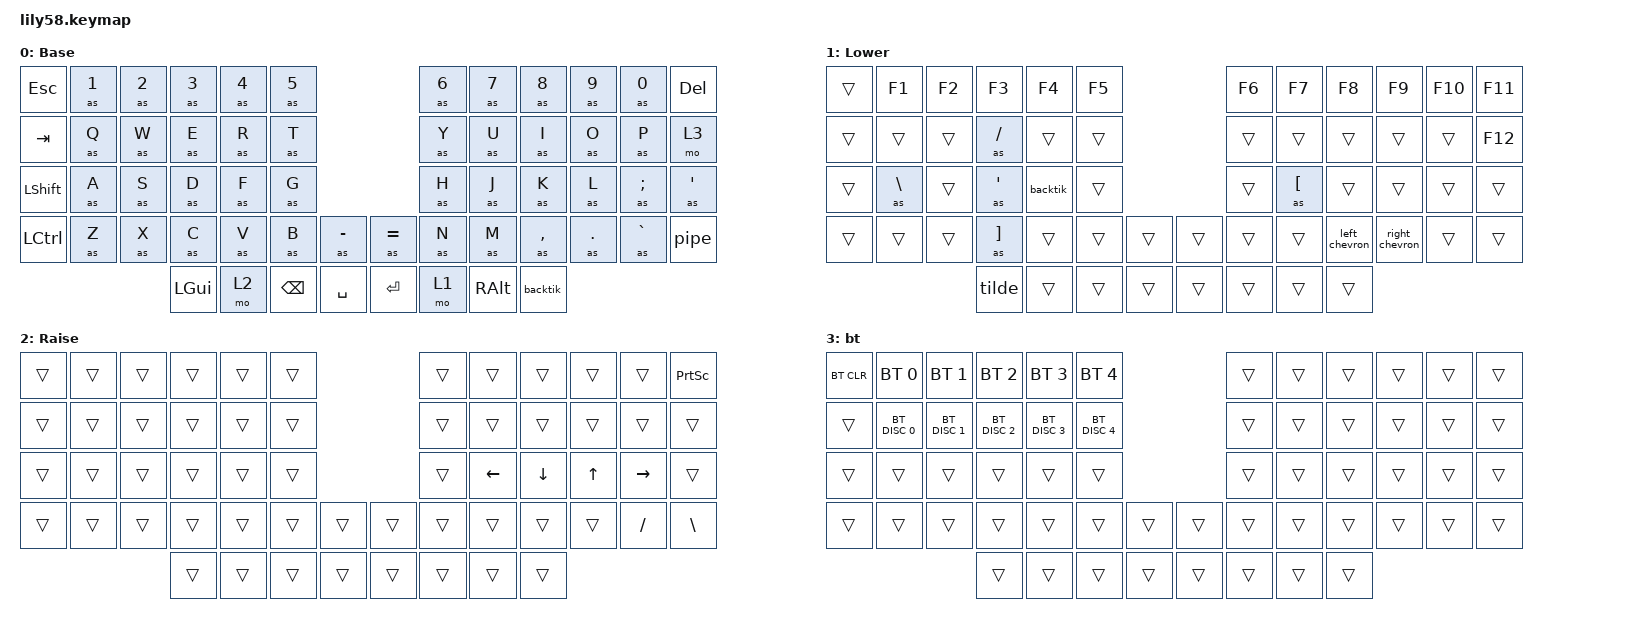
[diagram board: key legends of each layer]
/*
 * Copyright (c) 2020 The ZMK Contributors
 *
 * SPDX-License-Identifier: MIT
 */

#include <behaviors.dtsi>
#include <dt-bindings/zmk/bt.h>
#include <dt-bindings/zmk/keys.h>

/ {
    behaviors {
        as_ht: autoshift_hold_tap {
            compatible = "zmk,behavior-hold-tap";
            label = "AUTOSHIFT_HOLD_TAP";
            #binding-cells = <2>;
            tapping-term-ms = <175>;
            bindings = <&shifted>, <&kp>;

            flavor = "tap-preferred";
        };
    };

    macros {
        shifted: macro_shifted_kp {
            #binding-cells = <1>;
            label = "MACRO_SHIFTED_KP";
            compatible = "zmk,behavior-macro-one-param";
            bindings =
                <&macro_press>,
                <&kp LSHFT &macro_param_1to1>,
                <&macro_tap>,
                <&kp MACRO_PLACEHOLDER>,
                <&macro_release>,
                <&kp LSHFT>;
        };

        as: autoshift {
            compatible = "zmk,behavior-macro-one-param";
            #binding-cells = <1>;
            label = "AUTOSHIFT_KP";
            bindings =
                <&macro_press>,
                <&macro_param_1to1 &macro_param_1to2 &as_ht MACRO_PLACEHOLDER MACRO_PLACEHOLDER>,
                <&macro_pause_for_release>,
                <&macro_release>,
                <&macro_param_1to1 &macro_param_1to2 &as_ht MACRO_PLACEHOLDER MACRO_PLACEHOLDER>;
        };

        backtik: backtik {
            compatible = "zmk,behavior-macro";
            #binding-cells = <0>;
            bindings = <&kp RA(LEFT_BRACKET)>;
            label = "BACKTIK";
        };

        tilde: tilde {
            compatible = "zmk,behavior-macro";
            #binding-cells = <0>;
            bindings = <&kp RA(RIGHT_BRACKET)>;
            label = "TILDE";
        };

        left_chevron: left_chevron {
            compatible = "zmk,behavior-macro";
            #binding-cells = <0>;
            bindings = <&kp RA(Z)>;
            label = "LEFT_CHEVRON";
        };

        right_chevron: right_chevron {
            compatible = "zmk,behavior-macro";
            #binding-cells = <0>;
            bindings = <&kp RA(X)>;
            label = "RIGHT_CHEVRON";
        };

        pipe: pipe {
            compatible = "zmk,behavior-macro";
            #binding-cells = <0>;
            bindings = <&kp RA(GRAVE)>;
            label = "PIPE";
        };

        fr_a_gr: fr_a_gr {
            label = "à";
            wait-ms = <40>;
            tap-ms = <40>;
            bindings =
                <&macro_press   &kp LALT>,
                <&macro_tap     &kp N0 &kp N0 &kp E &kp N0>,
                <&macro_release &kp LALT>;
        };
    };

    keymap {
        compatible = "zmk,keymap";

        default_layer {
            // ------------------------------------------------------------------------------------------------------------
            // |  ESC  |  1  |  2  |  3   |  4   |  5   |                   |  6   |  7    |  8    |  9   |   0   |   BSPC   |
            // |  TAB  |  Q  |  W  |  E   |  R   |  T   |                   |  Y   |  U    |  I    |  O   |   P   |   MO3   |
            // |  SHIFT |  A  |  S  |  D   |  F   |  G   |                   |  H   |  J    |  K    |  L   |   ;   |   '   |
            // | CTRL |  Z  |  X  |  C   |  V   |  B   |   -  |  |  =  |  N   |  M    |  ,    |  .   |   /   | | |
            //                     | ALT  | GUI  | LOWER|  SPACE |  | ENTER | RAISE| BSPC  | GUI   |

            display-name = "Base";
            bindings = <
&kp ESC           &as NUMBER_1  &as N2  &as N3        &as N4  &as N5                                 &as N6  &as N7         &as N8     &as N9   &as N0     &kp DELETE
&kp TAB           &as Q         &as W   &as E         &as R   &as T                                  &as Y   &as U          &as I      &as O    &as P      &mo 3
&kp LEFT_SHIFT    &as A         &as S   &as D         &as F   &as G                                  &as H   &as J          &as K      &as L    &as SEMI   &as SQT
&kp LEFT_CONTROL  &as Z         &as X   &as C         &as V   &as B          &as MINUS    &as EQUAL  &as N   &as M          &as COMMA  &as DOT  &as GRAVE  &pipe
                                        &kp LEFT_GUI  &mo 2   &kp BACKSPACE  &kp SPACE    &kp ENTER  &mo 1   &kp RIGHT_ALT  &backtik
            >;
        };

        lower_layer {
            // ------------------------------------------------------------------------------------------------------------
            // |       | F1  | F2  |  F3  |  F4  |  F5  |                   |  F6  |  F7   |  F8   |  F9  |  F10  |  F11  |
            // |       |     |     |  é   |      |      |                   |      |       |       |      |       |  F12  |
            // |       |  à  |     |  è   |  `   |      |                   |      |  ^    |       |      |       |       |
            // |       |     |     |  ç   |      |      |        |  |       |      |       |   «   |  »   |       |       |
            //                     |  ~   |      |      |        |  |       |      |       |       |

            display-name = "Lower";
            bindings = <
&trans  &kp F1         &kp F2  &kp F3             &kp F4    &kp F5                    &kp F6  &kp F7            &kp F8         &kp F9          &kp F10  &kp F11
&trans  &trans         &trans  &as SLASH          &trans    &trans                    &trans  &trans            &trans         &trans          &trans   &kp F12
&trans  &as BACKSLASH  &trans  &as SINGLE_QUOTE   &backtik  &trans                    &trans  &as LEFT_BRACKET  &trans         &trans          &trans   &trans
&trans  &trans         &trans  &as RIGHT_BRACKET  &trans    &trans  &trans    &trans  &trans  &trans            &left_chevron  &right_chevron  &trans   &trans
                               &tilde             &trans    &trans  &trans    &trans  &trans  &trans            &trans
            >;
        };

        raise_layer {
            // ------------------------------------------------------------------------------------------------------------
            // |       |     |     |      |      |      |                   |      |       |       |      |       |       |
            // |       |     |     |      |      |      |                   |      |       |       |      |       |       |
            // |       |     |     |      |      |      |                   |      |   <-  |   v   |  ^   |  ->   |       |
            // |       |     |     |      |      |      |        |  |       |      |       |       |      | eng_/ | eng_| |
            //                     |      |      |      |        |  |       |      |       |       |

            display-name = "Raise";
            bindings = <
&trans  &trans  &trans  &trans  &trans  &trans                    &trans  &trans    &trans    &trans  &trans     &kp PRINTSCREEN
&trans  &trans  &trans  &trans  &trans  &trans                    &trans  &trans    &trans    &trans  &trans     &trans
&trans  &trans  &trans  &trans  &trans  &trans                    &trans  &kp LEFT  &kp DOWN  &kp UP  &kp RIGHT  &trans
&trans  &trans  &trans  &trans  &trans  &trans  &trans    &trans  &trans  &trans    &trans    &trans  &kp SLASH  &kp BACKSLASH
                        &trans  &trans  &trans  &trans    &trans  &trans  &trans    &trans
            >;
        };

        layer_3 {
            display-name = "bt";
            bindings = <
&bt BT_CLR  &bt BT_SEL 0   &bt BT_SEL 1   &bt BT_SEL 2   &bt BT_SEL 3   &bt BT_SEL 4                     &trans  &trans  &trans  &trans  &trans  &trans
&trans      &bt BT_DISC 0  &bt BT_DISC 1  &bt BT_DISC 2  &bt BT_DISC 3  &bt BT_DISC 4                    &trans  &trans  &trans  &trans  &trans  &trans
&trans      &trans         &trans         &trans         &trans         &trans                           &trans  &trans  &trans  &trans  &trans  &trans
&trans      &trans         &trans         &trans         &trans         &trans         &trans    &trans  &trans  &trans  &trans  &trans  &trans  &trans
                                          &trans         &trans         &trans         &trans    &trans  &trans  &trans  &trans
            >;
        };
    };
};
